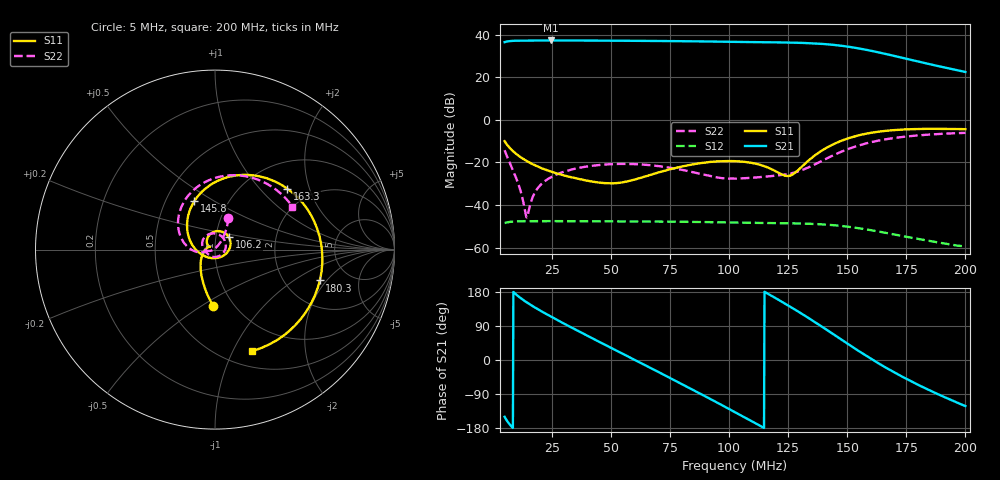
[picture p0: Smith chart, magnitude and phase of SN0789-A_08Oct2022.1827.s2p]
# Hz S DB R 50
! CMT, M5045, 22160017, 22.3.3/2
! Date: 10/8/2022 18:27:13
! Data: Format (Calibration Info)
! Freq	S11:dB/Ang(F2)	S21:dB/Ang(F2)	S12:dB/Ang(F2)	S22:dB/Ang(F2)
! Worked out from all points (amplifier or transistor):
!   1001 points, 5 MHz to 200 MHz, reference 50 ohm
!   highest |S21| = 37.2 dB at 24.5 MHz (marker M1)
!   |S21| within 3 dB of that: start of sweep to 150.8 MHz
!   unconditionally stable (mu >= 1): start of sweep to end of sweep
!   at 37.37 MHz: K = 1.80, MAG = 37.2 dB, |S12| = -47.6 dB
!   at 102.5 MHz: K = 2.03, MAG = 36.6 dB, |S12| = -48.3 dB
!   at 200 MHz: K = 17.19, MAG = 25.5 dB, |S12| = -59.3 dB
!   S11 on the Smith chart (normalised r, x): 5 MHz: 0.81, -0.56; 106.2 MHz: 1.16, +0.16; 145.8 MHz: 0.69, +0.41; 163.3 MHz: 1.53, +1.44; 180.3 MHz: 3.11, -1.69; 200 MHz: 0.67, -1.19
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5000000  -10.05 -91.6  36.45 -149.8  -48.50 -146.9  -14.27 67.4
7925000  -14.07 -109.3  37.02 -175.5  -47.86 -172.6  -22.17 56.0
1.163e7  -17.46 -126.6  37.17 164.1  -47.66 166.9  -32.97 55.4
1.787e7  -21.41 -151.1  37.23 138.4  -47.60 141.2  -34.05 -165.8
2.45e7  -24.29 -171.9  37.25 114.9  -47.58 118.4  -27.04 -171.5
3.7565e7  -28.04 158.7  37.20 71.8  -47.61 77.1  -22.35 159.4
5.453e7  -29.41 152.8  37.11 17.9  -47.69 25.4  -20.70 112.3
6.233e7  -27.34 150.8  37.06 -6.9  -47.72 1.7  -20.95 88.3
7.013e7  -24.74 141.1  36.99 -31.8  -47.78 -22.1  -21.73 62.5
7.871e7  -22.27 123.2  36.91 -59.4  -47.87 -48.6  -23.22 31.0
8.651e7  -20.60 103.3  36.82 -84.7  -47.97 -73.0  -25.05 -2.1
9.431e7  -19.58 80.7  36.71 -110.3  -48.11 -97.6  -26.94 -41.4
1.025e8  -19.43 54.4  36.58 -137.5  -48.26 -123.8  -27.63 -87.5
1.06205e8  -19.70 41.4  36.52 -149.9  -48.33 -135.8  -27.52 -107.8
1.20245e8  -24.48 -31.7  36.34 161.3  -48.52 176.9  -26.17 -158.1
1.35065e8  -17.77 168.4  35.91 105.1  -48.88 122.1  -21.61 -168.9
1.4579e8  -10.65 113.2  34.98 61.1  -49.65 78.9  -15.82 171.9
1.54175e8  -7.49 76.4  33.65 26.5  -50.79 44.7  -12.31 147.9
1.6334e8  -5.57 40.2  31.63 -9.2  -52.49 9.4  -9.75 120.1
1.6763e8  -5.04 24.6  30.57 -24.8  -53.37 -5.9  -8.92 107.6
1.80305e8  -4.31 -16.4  27.29 -66.4  -56.00 -47.1  -7.31 73.8
2e8  -4.41 -70.1  22.45 -121.6  -59.34 -96.8  -6.14 29.0
